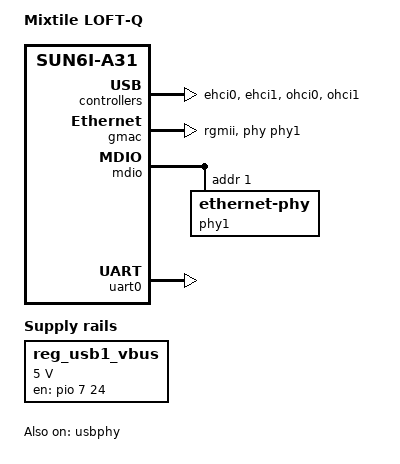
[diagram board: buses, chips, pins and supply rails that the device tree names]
// SPDX-License-Identifier: GPL-2.0+ OR X11
/*
 * Copyright 2015 Hans de Goede <hdegoede@redhat.com>
 *
 * Minimal dts file for the Mixtile LOFT-Q for u-boot only
 */

/dts-v1/;

#include <dt-bindings/gpio/gpio.h>

#include "sun6i-a31.dtsi"

/ {
	model = "Mixtile LOFT-Q";
	compatible = "mixtile,loft-q", "allwinner,sun6i-a31";

	aliases {
		serial0 = &uart0;
	};

	chosen {
		stdout-path = "serial0:115200n8";
	};

	reg_usb1_vbus: usb1-vbus {
		compatible = "regulator-fixed";
		regulator-name = "usb1-vbus";
		regulator-min-microvolt = <5000000>;
		regulator-max-microvolt = <5000000>;
		enable-active-high;
		gpio = <&pio 7 24 GPIO_ACTIVE_HIGH>; /* PH24 */
	};
};

&ehci0 {
	status = "okay";
};

&ehci1 {
	status = "okay";
};

&gmac {
	pinctrl-names = "default";
	pinctrl-0 = <&gmac_rgmii_pins>;
	phy = <&phy1>;
	phy-mode = "rgmii";
	status = "okay";
};

&mdio {
	phy1: ethernet-phy@1 {
		reg = <1>;
	};
};

&ohci0 {
	status = "okay";
};

&ohci1 {
	status = "okay";
};

&uart0 {
	pinctrl-names = "default";
	pinctrl-0 = <&uart0_ph_pins>;
	status = "okay";
};

&usbphy {
	usb1_vbus-supply = <&reg_usb1_vbus>;
	status = "okay";
};
